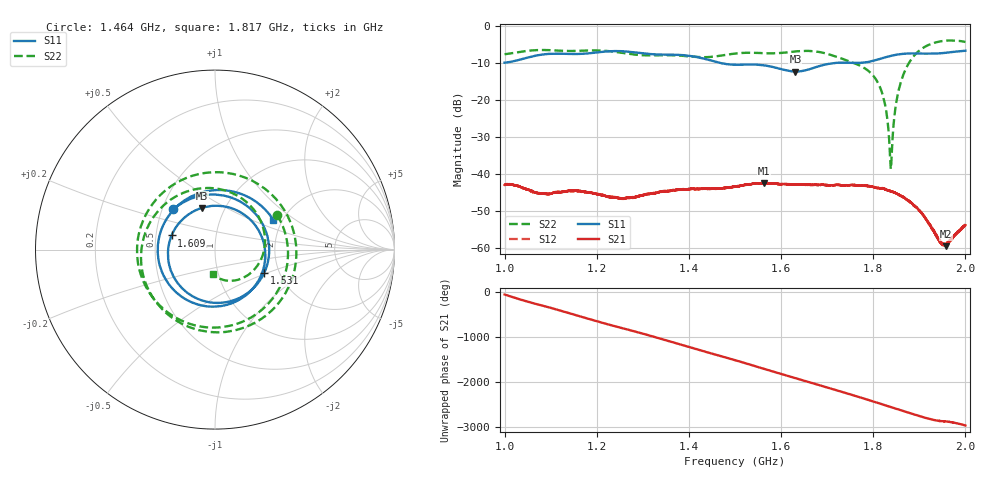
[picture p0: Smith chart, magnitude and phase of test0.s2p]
!Keysight Technologies N9923A: A.08.15
!Date: Friday, 16 February 2024 15:55:18
!Timezone: (GMT-05:00) Eastern Time (US & Canada)
!Model: N9923A
!Serial: MY52412730
!GPS Latitude:
!GPS Longitude:
!GPS TimeStamp: 0001-01-01 00:00:00Z
!GPS Seconds Since Last Read: 0
!CHECKSUM:0087753898
!Correction: S11(ON Q?)S21(ON Q?)S12(ON Q?)S22(ON Q?)
!S2P File: Measurements:S11,S21,S12,S22:
# Hz S DB R 50
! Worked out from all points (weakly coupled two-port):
!   4001 points, 1 GHz to 2 GHz, reference 50 ohm
!   highest |S21| = -42.45 dB at 1.562 GHz (marker M1); lowest = -59.6 dB at 1.958 GHz (marker M2)
!   lowest |S11| = -12.3 dB at 1.631 GHz (marker M3), VSWR 1.64, Z = 38.9 + j19.2 ohm
!   |S11| at or under -10 dB: 1.47 GHz to 1.713 GHz (242.7 MHz wide, 15.3 % of centre)
!   |S22| runs from -38.7 to -3.8 dB; largest |S21 - S12| = 0.00022
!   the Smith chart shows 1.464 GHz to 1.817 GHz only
!   S11 on the Smith chart (normalised r, x): 1.464 GHz: 0.57, +0.29; 1.531 GHz: 1.66, -0.48; 1.609 GHz: 0.60, +0.10; 1.817 GHz: 1.80, +0.69
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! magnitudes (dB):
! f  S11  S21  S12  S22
! 1 GHz  -9.9  -43.0  -42.9  -7.6
! 1.167 GHz  -7.5  -44.7  -44.9  -6.6
! 1.256 GHz  -6.8  -46.7  -46.7  -7.2
! 1.333 GHz  -7.7  -45.0  -45.0  -7.9
! 1.464 GHz  -9.8  -43.9  -44.1  -8.0
! 1.5 GHz  -10.4  -43.5  -43.5  -7.4
! 1.531 GHz  -10.4  -42.9  -42.9  -7.2
! 1.562 GHz  -10.6  -42.4  -42.5  -7.3
! 1.609 GHz  -11.9  -42.8  -42.8  -7.1
! 1.631 GHz  -12.3  -42.9  -42.8  -6.8
! 1.667 GHz  -11.4  -43.0  -43.0  -6.7
! 1.778 GHz  -9.9  -43.2  -43.2  -11.1
! 1.817 GHz  -8.7  -43.9  -43.8  -17.3
! 1.827 GHz  -8.4  -44.2  -44.2  -22.3
! 1.833 GHz  -8.2  -44.5  -44.5  -28.8
! 1.839 GHz  -8.0  -44.8  -44.8  -36.4
! 1.847 GHz  -7.8  -45.2  -45.1  -22.7
! 1.854 GHz  -7.6  -45.5  -45.6  -18.1
! 1.878 GHz  -7.4  -47.3  -47.4  -9.9
! 1.911 GHz  -7.4  -51.7  -51.6  -5.6
! 1.958 GHz  -7.2  -59.6  -59.1  -3.9
! 2 GHz  -6.6  -53.9  -54.0  -4.3
